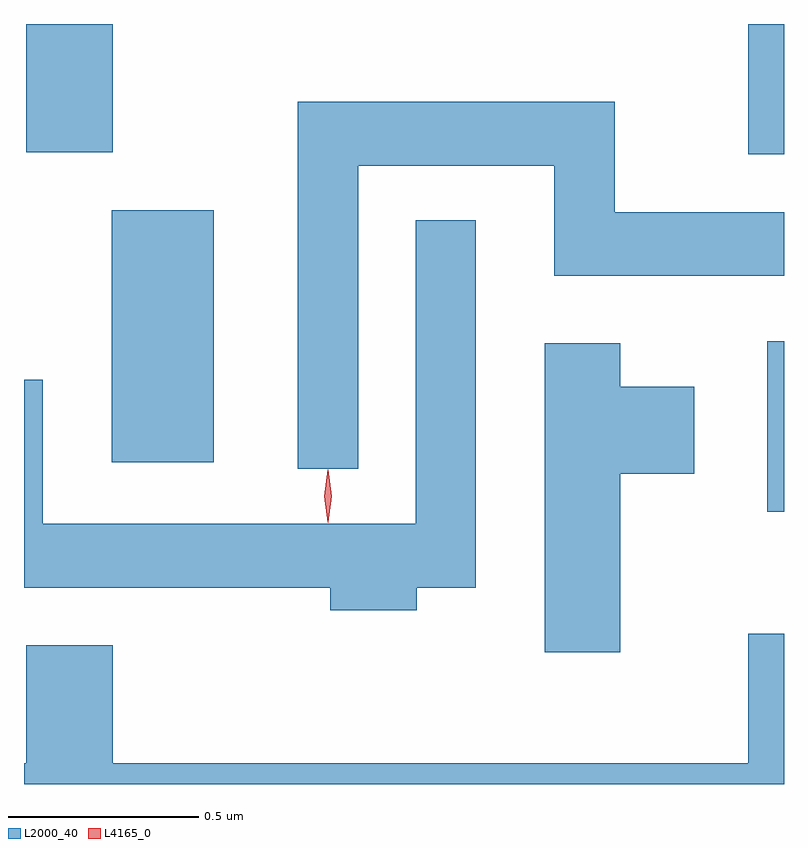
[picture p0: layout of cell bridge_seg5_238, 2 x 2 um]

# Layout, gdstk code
import gdstk
lib = gdstk.Library(unit=1e-6, precision=1e-09)
def R(c, l, rs):  # rectangles x0, y0, x1, y1
    for r in rs: c.add(gdstk.rectangle(r[:2], r[2:], *l))
def P(c, l, *ps):  # polygons
    for p in ps: c.add(gdstk.Polygon(p, *l))
L2000_40 = (2000, 40)
L4165_0 = (4165, 0)

bridge_seg5_238 = lib.new_cell('bridge_seg5_238')
R(bridge_seg5_238, L2000_40, [(1324.401,1428.866,1324.445,1429.314), (1322.676,1428.996,1322.944,1429.659), (1324.351,1429.806,1324.445,1430.149), (1322.451,1429.811,1322.679,1430.149)])
P(bridge_seg5_238, L2000_40, [(1323.324,1429.776),(1323.841,1429.776),(1323.841,1429.486),(1324.445,1429.486),(1324.445,1429.654),(1323.999,1429.654),(1323.999,1429.944),(1323.166,1429.944),(1323.166,1428.978),(1323.324,1428.978)],
  [(1323.479,1428.666),(1323.634,1428.666),(1323.634,1429.633),(1323.476,1429.633),(1323.476,1428.834),(1322.494,1428.834),(1322.494,1429.213),(1322.445,1429.213),(1322.445,1428.666),(1323.251,1428.666),(1323.251,1428.606),(1323.479,1428.606)],
  [(1324.014,1428.966),(1324.209,1428.966),(1324.209,1429.194),(1324.014,1429.194),(1324.014,1429.309),(1323.816,1429.309),(1323.816,1428.496),(1324.014,1428.496)],
  [(1324.445,1428.544),(1324.351,1428.544),(1324.351,1428.204),(1322.679,1428.204),(1322.679,1428.514),(1322.451,1428.514),(1322.451,1428.204),(1322.445,1428.204),(1322.445,1428.149),(1324.445,1428.149)])
P(bridge_seg5_238, L4165_0, [(1323.245,1428.839),(1323.244,1428.84),(1323.235,1428.906),(1323.244,1428.972),(1323.245,1428.973),(1323.245,1428.972),(1323.255,1428.906),(1323.245,1428.84)],
  [(1323.245,1428.837),(1323.244,1428.838),(1323.235,1428.906),(1323.244,1428.976),(1323.245,1428.976),(1323.245,1428.976),(1323.255,1428.906),(1323.245,1428.838)])

lib.write_gds('bridge_seg5_238.gds')
